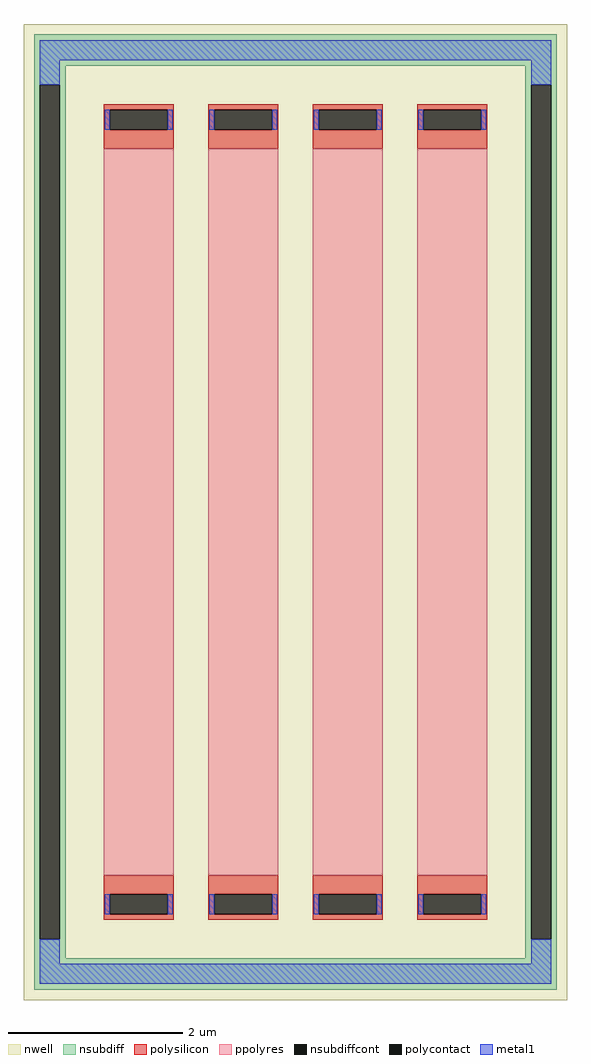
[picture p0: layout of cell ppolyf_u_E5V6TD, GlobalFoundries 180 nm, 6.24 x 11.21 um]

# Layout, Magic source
magic
tech gf180mcuC
magscale 1 10
<< nwell >>
rect -624 -1121 624 1121
<< nsubdiff >>
rect -600 1025 600 1097
rect -600 981 -528 1025
rect -600 -981 -587 981
rect -541 -981 -528 981
rect 528 981 600 1025
rect -600 -1025 -528 -981
rect 528 -981 541 981
rect 587 -981 600 981
rect 528 -1025 600 -981
rect -600 -1097 600 -1025
<< nsubdiffcont >>
rect -587 -981 -541 981
rect 541 -981 587 981
<< polysilicon >>
rect -440 924 -280 937
rect -440 878 -427 924
rect -293 878 -280 924
rect -440 834 -280 878
rect -440 -878 -280 -834
rect -440 -924 -427 -878
rect -293 -924 -280 -878
rect -440 -937 -280 -924
rect -200 924 -40 937
rect -200 878 -187 924
rect -53 878 -40 924
rect -200 834 -40 878
rect -200 -878 -40 -834
rect -200 -924 -187 -878
rect -53 -924 -40 -878
rect -200 -937 -40 -924
rect 40 924 200 937
rect 40 878 53 924
rect 187 878 200 924
rect 40 834 200 878
rect 40 -878 200 -834
rect 40 -924 53 -878
rect 187 -924 200 -878
rect 40 -937 200 -924
rect 280 924 440 937
rect 280 878 293 924
rect 427 878 440 924
rect 280 834 440 878
rect 280 -878 440 -834
rect 280 -924 293 -878
rect 427 -924 440 -878
rect 280 -937 440 -924
<< polycontact >>
rect -427 878 -293 924
rect -427 -924 -293 -878
rect -187 878 -53 924
rect -187 -924 -53 -878
rect 53 878 187 924
rect 53 -924 187 -878
rect 293 878 427 924
rect 293 -924 427 -878
<< ppolyres >>
rect -440 -834 -280 834
rect -200 -834 -40 834
rect 40 -834 200 834
rect 280 -834 440 834
<< metal1 >>
rect -587 1038 587 1084
rect -587 981 -541 1038
rect 541 981 587 1038
rect -438 878 -427 924
rect -293 878 -282 924
rect -198 878 -187 924
rect -53 878 -42 924
rect 42 878 53 924
rect 187 878 198 924
rect 282 878 293 924
rect 427 878 438 924
rect -438 -924 -427 -878
rect -293 -924 -282 -878
rect -198 -924 -187 -878
rect -53 -924 -42 -878
rect 42 -924 53 -878
rect 187 -924 198 -878
rect 282 -924 293 -878
rect 427 -924 438 -878
rect -587 -1038 -541 -981
rect 541 -1038 587 -981
rect -587 -1084 587 -1038
<< properties >>
string FIXED_BBOX -564 -1061 564 1061
string gencell ppolyf_u
string library gf180mcu
string parameters w 0.8 l 8.343 m 1 nx 4 wmin 0.80 lmin 1.00 rho 315 val 3.6k dummy 0 dw 0.07 term 0.0 sterm 0.0 caplen 0.4 snake 0 glc 1 grc 1 gtc 0 gbc 0 roverlap 0 endcov 100 full_metal 1
<< end >>
